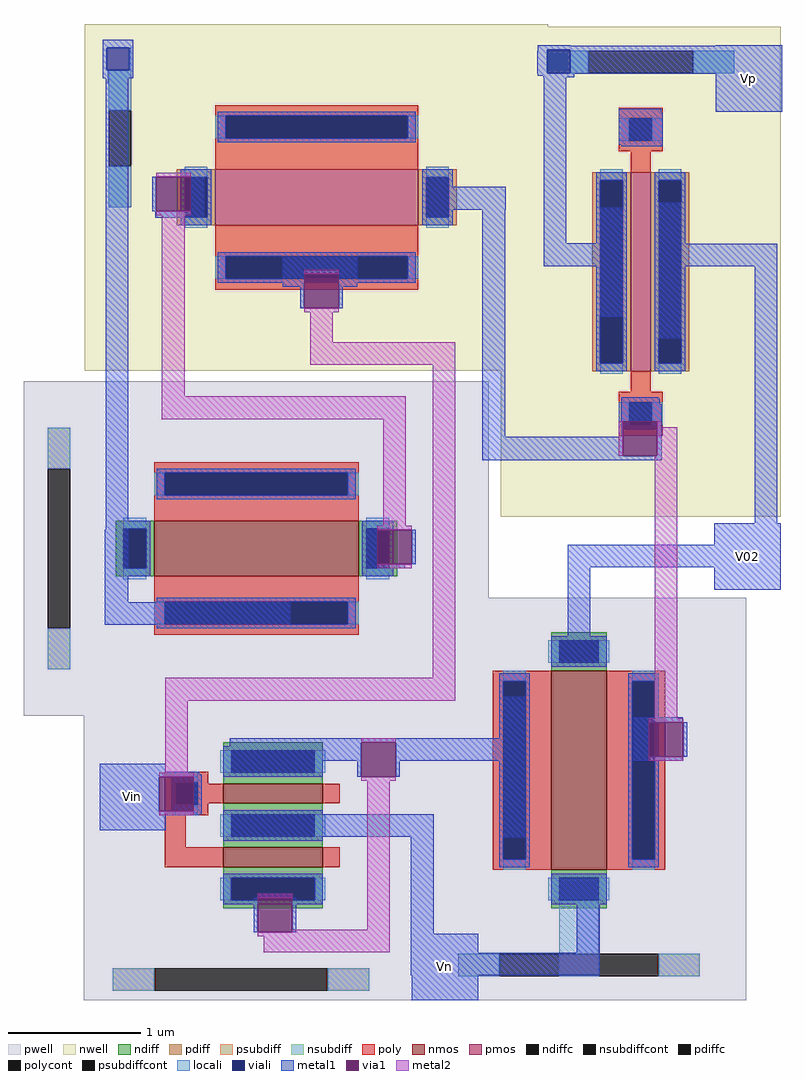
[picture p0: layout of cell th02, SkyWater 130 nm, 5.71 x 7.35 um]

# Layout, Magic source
magic
tech sky130A
magscale 1 2
<< pwell >>
rect 744 -972 870 -938
<< locali >>
rect 537 356 540 390
rect 504 336 540 356
rect 1184 -1008 1244 -862
<< viali >>
rect 503 356 537 390
rect 1166 352 1201 387
<< metal1 >>
rect 497 390 543 402
rect 497 356 503 390
rect 537 356 543 390
rect 1152 393 1202 394
rect 1420 393 1520 394
rect 1152 387 1520 393
rect 1152 385 1166 387
rect 497 344 543 356
rect 1151 352 1166 385
rect 1201 352 1520 387
rect 1151 351 1520 352
rect 1152 348 1207 351
rect 1160 346 1207 348
rect 501 -336 535 344
rect 571 144 577 196
rect 629 144 650 196
rect 576 134 650 144
rect 983 181 1018 199
rect 983 146 1104 181
rect 983 133 1018 146
rect 768 50 880 76
rect 768 30 800 50
rect 794 -2 800 30
rect 852 30 880 50
rect 852 -2 858 30
rect 1068 -196 1103 146
rect 1161 96 1195 346
rect 1274 292 1338 298
rect 1420 294 1520 351
rect 1274 244 1340 292
rect 1278 242 1340 244
rect 1245 96 1279 149
rect 1161 61 1279 96
rect 1245 -15 1279 61
rect 1333 95 1367 157
rect 1333 61 1513 95
rect 1333 -47 1367 61
rect 1278 -147 1334 -136
rect 1278 -172 1339 -147
rect 1278 -196 1280 -172
rect 1068 -224 1280 -196
rect 1332 -224 1339 -172
rect 1068 -231 1339 -224
rect 1479 -326 1513 61
rect 500 -445 535 -336
rect 894 -388 910 -336
rect 962 -388 968 -336
rect 1418 -358 1518 -326
rect 894 -394 952 -388
rect 1197 -392 1518 -358
rect 500 -479 779 -445
rect 1197 -501 1231 -392
rect 1418 -426 1518 -392
rect 1179 -535 1243 -501
rect 1099 -650 1133 -587
rect 688 -656 1133 -650
rect 688 -684 886 -656
rect 492 -700 592 -688
rect 492 -704 642 -700
rect 492 -708 646 -704
rect 689 -705 823 -684
rect 880 -708 886 -684
rect 938 -684 1133 -656
rect 1296 -626 1370 -618
rect 1296 -678 1319 -626
rect 1371 -678 1377 -626
rect 1296 -684 1370 -678
rect 938 -708 944 -684
rect 492 -760 582 -708
rect 634 -760 646 -708
rect 492 -764 646 -760
rect 492 -766 642 -764
rect 492 -788 592 -766
rect 691 -798 995 -764
rect 724 -942 730 -890
rect 782 -942 788 -890
rect 961 -944 995 -798
rect 1099 -799 1133 -684
rect 1181 -895 1245 -861
rect 961 -973 1062 -944
rect 1211 -973 1245 -895
rect 961 -1007 1245 -973
rect 962 -1044 1062 -1007
<< via1 >>
rect 577 144 629 196
rect 800 -2 852 50
rect 1280 -224 1332 -172
rect 910 -388 962 -336
rect 886 -708 938 -656
rect 1319 -678 1371 -626
rect 582 -760 634 -708
rect 730 -942 782 -890
<< metal2 >>
rect 577 196 629 202
rect 577 138 629 144
rect 586 -135 620 138
rect 800 50 852 56
rect 800 -8 852 -2
rect 809 -53 843 -8
rect 809 -87 1028 -53
rect 586 -169 953 -135
rect 919 -330 953 -169
rect 910 -336 962 -330
rect 910 -394 962 -388
rect 994 -559 1028 -87
rect 1274 -224 1280 -172
rect 1332 -181 1338 -172
rect 1332 -224 1362 -181
rect 591 -593 1028 -559
rect 591 -702 625 -593
rect 1328 -620 1362 -224
rect 1319 -626 1371 -620
rect 886 -656 938 -650
rect 582 -708 634 -702
rect 1319 -684 1371 -678
rect 886 -714 938 -708
rect 582 -766 634 -760
rect 730 -890 782 -884
rect 895 -938 929 -714
rect 782 -942 929 -938
rect 730 -948 929 -942
rect 739 -972 929 -948
use sky130_fd_pr__nfet_01v8_D7Y3TR  XM0
transform 0 -1 753 1 0 -781
box -263 -285 263 285
use sky130_fd_pr__pfet_01v8_2ZD99F  XM1
transform 1 0 819 0 1 165
box -349 -261 349 261
use sky130_fd_pr__nfet_01v8_2BW22M  XM2
transform 1 0 728 0 1 -364
box -350 -252 350 252
use sky130_fd_pr__pfet_01v8_XJP3BL  XM3
transform 1 0 1307 0 -1 53
box -211 -369 211 369
use sky130_fd_pr__nfet_01v8_LH5FDA  XM4
transform 0 -1 1214 -1 0 -698
box -260 -252 346 252
<< labels >>
flabel metal1 1418 -426 1518 -326 0 FreeSans 256 0 0 0 V02
port 2 nsew
flabel metal1 962 -1044 1062 -944 0 FreeSans 256 0 0 0 Vn
port 3 nsew
flabel metal1 492 -788 592 -688 0 FreeSans 256 0 0 0 Vin
port 1 nsew
flabel metal1 1420 294 1520 394 0 FreeSans 256 0 0 0 Vp
port 0 nsew
<< end >>

# cell sky130_fd_pr__nfet_01v8_D7Y3TR: kit device sky130_fd_pr__nfet_01v8, w 0.75 l 0.15 m 1 nf 2 diffcov 100 polycov 100 guard 1 glc 1 grc 1 gtc 1 gbc 1 tbcov 100 rlcov 100 topc 1 botc 1 poverlap 0 doverlap 1 lmin 0.15 wmin 0.42 compatible {sky130_fd_pr__nfet_01v8 sky130_fd_pr__nfet_01v8_lvt sky130_fd_bs_flash__special_sonosfet_star sky130_fd_pr__nfet_g5v0d10v5 sky130_fd_pr__nfet_05v0_nvt sky130_fd_pr__nfet_03v3_nvt} full_metal 1 viasrc 100 viadrn 100 viagate 100 viagb 0 viagr 0 viagl 0 viagt 0

# cell sky130_fd_pr__pfet_01v8_2ZD99F: kit device sky130_fd_pr__pfet_01v8, w 0.42 l 1.53 m 1 nf 1 diffcov 100 polycov 100 guard 1 glc 1 grc 1 gtc 1 gbc 1 tbcov 100 rlcov 100 topc 1 botc 1 poverlap 0 doverlap 1 lmin 0.15 wmin 0.42 compatible {sky130_fd_pr__pfet_01v8 sky130_fd_pr__pfet_01v8_lvt sky130_fd_pr__pfet_01v8_hvt sky130_fd_pr__pfet_g5v0d10v5} full_metal 1 viasrc 100 viadrn 100 viagate 100 viagb 0 viagr 0 viagl 0 viagt 0

# cell sky130_fd_pr__nfet_01v8_2BW22M: kit device sky130_fd_pr__nfet_01v8, w 0.42 l 1.54 m 1 nf 1 diffcov 100 polycov 100 guard 1 glc 1 grc 1 gtc 1 gbc 1 tbcov 100 rlcov 100 topc 1 botc 1 poverlap 0 doverlap 1 lmin 0.15 wmin 0.42 compatible {sky130_fd_pr__nfet_01v8 sky130_fd_pr__nfet_01v8_lvt sky130_fd_bs_flash__special_sonosfet_star sky130_fd_pr__nfet_g5v0d10v5 sky130_fd_pr__nfet_05v0_nvt sky130_fd_pr__nfet_03v3_nvt} full_metal 1 viasrc 100 viadrn 100 viagate 100 viagb 0 viagr 0 viagl 0 viagt 0

# cell sky130_fd_pr__pfet_01v8_XJP3BL: kit device sky130_fd_pr__pfet_01v8, w 1.5 l 0.15 m 1 nf 1 diffcov 100 polycov 100 guard 1 glc 1 grc 1 gtc 1 gbc 1 tbcov 100 rlcov 100 topc 1 botc 1 poverlap 0 doverlap 1 lmin 0.15 wmin 0.42 compatible {sky130_fd_pr__pfet_01v8 sky130_fd_pr__pfet_01v8_lvt sky130_fd_pr__pfet_01v8_hvt sky130_fd_pr__pfet_g5v0d10v5} full_metal 1 viasrc 100 viadrn 100 viagate 100 viagb 0 viagr 0 viagl 0 viagt 0

# cell sky130_fd_pr__nfet_01v8_LH5FDA: kit device sky130_fd_pr__nfet_01v8, w 0.42 l 1.5 m 1 nf 1 diffcov 100 polycov 100 guard 1 glc 1 grc 1 gtc 1 gbc 1 tbcov 100 rlcov 100 topc 1 botc 1 poverlap 0 doverlap 1 lmin 0.15 wmin 0.42 compatible {sky130_fd_pr__nfet_01v8 sky130_fd_pr__nfet_01v8_lvt sky130_fd_bs_flash__special_sonosfet_star sky130_fd_pr__nfet_g5v0d10v5 sky130_fd_pr__nfet_05v0_nvt sky130_fd_pr__nfet_03v3_nvt} full_metal 1 viasrc 100 viadrn 100 viagate 100 viagb 0 viagr 0 viagl 0 viagt 0
